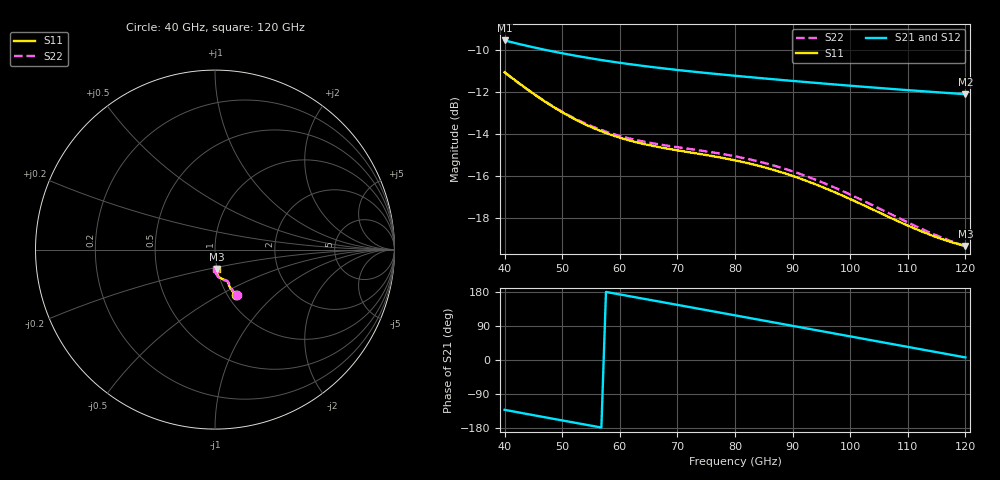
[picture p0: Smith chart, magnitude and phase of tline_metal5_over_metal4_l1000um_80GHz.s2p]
#  GHZ S DB R 50
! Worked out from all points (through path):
!   101 points, 40 GHz to 120 GHz, reference 50 ohm
!   highest |S21| = -9.57 dB at 40 GHz (marker M1); lowest = -12.1 dB at 120 GHz (marker M2)
!   group delay of S21, straight-line fit = 7.69 ps
!   lowest |S11| = -19.3 dB at 120 GHz (marker M3), VSWR 1.24, Z = 49.8 - j10.9 ohm
!   |S11| at or under -10 dB: start of sweep to end of sweep
!   |S22| runs from -19.3 to -11.1 dB; largest |S21 - S12| = 4.3e-15
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40  -11.07 -65.1  -9.57 -131.5  -9.57 -131.5  -11.09 -64.4
43.2  -11.73 -66.7  -9.78 -140.5  -9.78 -140.5  -11.74 -65.9
46.4  -12.35 -67.7  -9.98 -149.5  -9.98 -149.5  -12.34 -66.8
49.6  -12.90 -68.3  -10.15 -158.4  -10.15 -158.4  -12.88 -67.3
53.6  -13.49 -68.5  -10.35 -169.4  -10.35 -169.4  -13.45 -67.5
56.8  -13.87 -68.6  -10.50 -178.2  -10.50 -178.2  -13.81 -67.6
60  -14.17 -68.6  -10.63 173.0  -10.63 173.0  -14.09 -67.6
63.2  -14.41 -68.8  -10.74 164.2  -10.74 164.2  -14.31 -67.9
67.2  -14.64 -69.4  -10.88 153.2  -10.88 153.2  -14.51 -68.5
73.6  -14.93 -71.3  -11.07 135.5  -11.07 135.5  -14.77 -70.7
76.8  -15.08 -72.7  -11.16 126.7  -11.16 126.7  -14.90 -72.2
80  -15.25 -74.3  -11.24 117.8  -11.24 117.8  -15.06 -73.9
84  -15.50 -76.5  -11.34 106.7  -11.34 106.7  -15.30 -76.4
87.2  -15.74 -78.3  -11.42 97.9  -11.42 97.9  -15.53 -78.4
90.4  -16.02 -80.1  -11.49 89.0  -11.49 89.0  -15.81 -80.5
93.6  -16.34 -81.9  -11.57 80.1  -11.57 80.1  -16.12 -82.4
96.8  -16.70 -83.4  -11.64 71.2  -11.64 71.2  -16.48 -84.2
100  -17.08 -84.7  -11.71 62.3  -11.71 62.3  -16.87 -85.8
107.2  -17.99 -86.3  -11.86 42.3  -11.86 42.3  -17.81 -88.2
113.6  -18.74 -86.1  -11.99 24.6  -11.99 24.6  -18.64 -88.7
116.8  -19.05 -85.6  -12.05 15.7  -12.05 15.7  -19.00 -88.4
120  -19.31 -84.8  -12.11 6.8  -12.11 6.8  -19.31 -87.9
